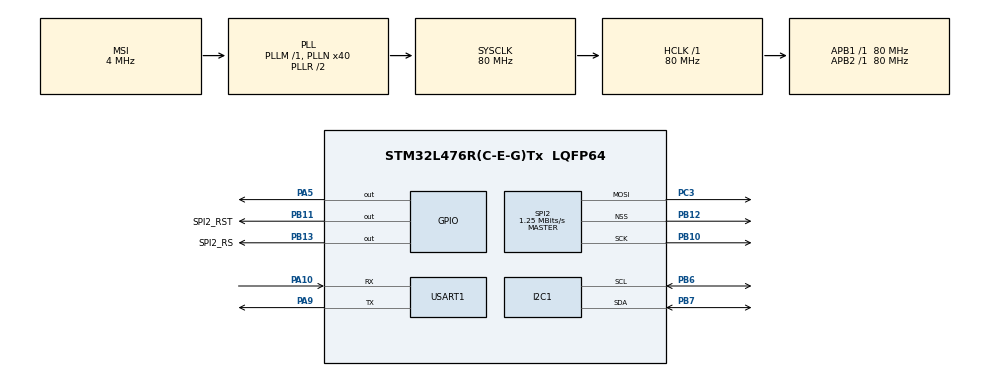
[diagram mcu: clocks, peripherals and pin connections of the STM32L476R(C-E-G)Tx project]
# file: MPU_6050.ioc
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Mcu.Family=STM32L4
Mcu.Name=STM32L476R(C-E-G)Tx
Mcu.Package=LQFP64
NVIC.PriorityGroup=NVIC_PRIORITYGROUP_4
PA10.Mode=Asynchronous
PA10.Signal=USART1_RX
PA5.Signal=GPIO_Output
PA9.Mode=Asynchronous
PA9.Signal=USART1_TX
PB10.Mode=TX_Only_Simplex_Unidirect_Master
PB10.Signal=SPI2_SCK
PB11.GPIO_Label=SPI2_RST
PB11.GPIO_Speed=GPIO_SPEED_FREQ_MEDIUM
PB11.Signal=GPIO_Output
PB12.Mode=NSS_Signal_Hard_Output
PB12.Signal=SPI2_NSS
PB13.GPIO_Label=SPI2_RS
PB13.GPIO_Speed=GPIO_SPEED_FREQ_MEDIUM
PB13.Signal=GPIO_Output
PB6.Mode=I2C
PB6.Signal=I2C1_SCL
PB7.Mode=I2C
PB7.Signal=I2C1_SDA
PC14-OSC32_IN\ (PC14).Mode=LSE-External-Oscillator
PC14-OSC32_IN\ (PC14).Signal=RCC_OSC32_IN
PC15-OSC32_OUT\ (PC15).Mode=LSE-External-Oscillator
PC15-OSC32_OUT\ (PC15).Signal=RCC_OSC32_OUT
PC3.Mode=TX_Only_Simplex_Unidirect_Master
PC3.Signal=SPI2_MOSI
ProjectManager.HeapSize=0x400
ProjectManager.StackSize=0x800
ProjectManager.TargetToolchain=MDK-ARM V5
RCC.ADCFreq_Value=16000000
RCC.AHBFreq_Value=80000000
RCC.APB1Freq_Value=80000000
RCC.APB1TimFreq_Value=80000000
RCC.APB2Freq_Value=80000000
RCC.APB2TimFreq_Value=80000000
RCC.CortexFreq_Value=80000000
RCC.HCLKFreq_Value=80000000
RCC.HSE_VALUE=8000000
RCC.HSI_VALUE=16000000
RCC.MSI_VALUE=4000000
RCC.PLLN=40
RCC.RTCClockSelection=RCC_RTCCLKSOURCE_LSE
RCC.SYSCLKFreq_VALUE=80000000
RCC.SYSCLKSource=RCC_SYSCLKSOURCE_PLLCLK
RCC.USBFreq_Value=16000000
RCC.VCOOutputFreq_Value=160000000
SPI2.BaudRatePrescaler=SPI_BAUDRATEPRESCALER_64
SPI2.CalculateBaudRate=1.25 MBits/s
SPI2.DataSize=SPI_DATASIZE_8BIT
SPI2.Direction=SPI_DIRECTION_2LINES
SPI2.Mode=SPI_MODE_MASTER
SPI2.VirtualNSS=VM_NSSHARD
SPI2.VirtualType=VM_MASTER
USART1.DMADisableonRxErrorParam=ADVFEATURE_DMA_DISABLEONRXERROR
USART1.VirtualMode-Asynchronous=VM_ASYNC
USART1.WordLength=WORDLENGTH_8B
VP_RTC_VS_RTC_Activate.Mode=RTC_Enabled
board=MPU_6050

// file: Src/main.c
/**
  ******************************************************************************
  * @file           : main.c
  * @brief          : Main program body
  ******************************************************************************
  ** This notice applies to any and all portions of this file
  * that are not between comment pairs USER CODE BEGIN and
  * USER CODE END. Other portions of this file, whether
  * inserted by the user or by software development tools
  * are owned by their respective copyright owners.
  *
  * COPYRIGHT(c) 2018 STMicroelectronics
  *
  * Redistribution and use in source and binary forms, with or without modification,
  * are permitted provided that the following conditions are met:
  *   1. Redistributions of source code must retain the above copyright notice,
  *      this list of conditions and the following disclaimer.
  *   2. Redistributions in binary form must reproduce the above copyright notice,
  *      this list of conditions and the following disclaimer in the documentation
  *      and/or other materials provided with the distribution.
  *   3. Neither the name of STMicroelectronics nor the names of its contributors
  *      may be used to endorse or promote products derived from this software
  *      without specific prior written permission.
  *
  * THIS SOFTWARE IS PROVIDED BY THE COPYRIGHT HOLDERS AND CONTRIBUTORS "AS IS"
  * AND ANY EXPRESS OR IMPLIED WARRANTIES, INCLUDING, BUT NOT LIMITED TO, THE
  * IMPLIED WARRANTIES OF MERCHANTABILITY AND FITNESS FOR A PARTICULAR PURPOSE ARE
  * DISCLAIMED. IN NO EVENT SHALL THE COPYRIGHT HOLDER OR CONTRIBUTORS BE LIABLE
  * FOR ANY DIRECT, INDIRECT, INCIDENTAL, SPECIAL, EXEMPLARY, OR CONSEQUENTIAL
  * DAMAGES (INCLUDING, BUT NOT LIMITED TO, PROCUREMENT OF SUBSTITUTE GOODS OR
  * SERVICES; LOSS OF USE, DATA, OR PROFITS; OR BUSINESS INTERRUPTION) HOWEVER
  * CAUSED AND ON ANY THEORY OF LIABILITY, WHETHER IN CONTRACT, STRICT LIABILITY,
  * OR TORT (INCLUDING NEGLIGENCE OR OTHERWISE) ARISING IN ANY WAY OUT OF THE USE
  * OF THIS SOFTWARE, EVEN IF ADVISED OF THE POSSIBILITY OF SUCH DAMAGE.
  *
  ******************************************************************************
  */
#include "main.h"
#include "stm32l4xx_hal.h"
#include "i2c.h"
#include "rtc.h"
#include "spi.h"
#include "usart.h"
#include "gpio.h"

/* USER CODE BEGIN Includes */
#include "oled.h"
#include "mpu6050.h"
#include "inv_mpu.h"
#include "inv_mpu_dmp_motion_driver.h"
/* USER CODE END Includes */

/* USER CODE BEGIN PV */
/* Private variables ---------------------------------------------------------*/
float pitch,roll,yaw; 		//欧拉角
uint16_t accX_int16_t,accY_int16_t,accZ_int16_t;
short aacx,aacy,aacz;		//加速度传感器原始数据
short gyrox,gyroy,gyroz;	//陀螺仪原始数据
short temp;					//温度
/* USER CODE END PV */

void SystemClock_Config(void);

/* USER CODE BEGIN PFP */
/* Private function prototypes -----------------------------------------------*/

/* USER CODE END PFP */

int main(void)
{
  /* USER CODE BEGIN 1 */
	uint16_t temperature_value;
	uint8_t abc = 0;
  /* USER CODE END 1 */

  /* MCU Configuration----------------------------------------------------------*/

  /* Reset of all peripherals, Initializes the Flash interface and the Systick. */
  HAL_Init();

  /* Configure the system clock */
  SystemClock_Config();

  /* Initialize all configured peripherals */
  MX_GPIO_Init();
  MX_RTC_Init();
  MX_SPI2_Init();
  MX_USART1_UART_Init();
  MX_I2C1_Init();
  /* USER CODE BEGIN 2 */
	oled_init();
	MPU6050_Init();
	//oled_showstring(0,0,"hello");

	//oled_showchar(0,0,'a');
	oled_showstring(0,2,"hello!");
    while((abc = mpu_dmp_init()) != 0)
    {
        oled_showstring(80,0,"X");
				oled_shownum(0,0,abc,4,16);
    }

  /* USER CODE END 2 */

  /* Infinite loop */
  while (1)
  {

  /* USER CODE BEGIN 3 */
		if(mpu_dmp_get_data(&pitch,&roll,&yaw)==0)
		{
			temp=MPU_Get_Temperature();	//得到温度值
			//log_printf("temp = %d",temp);
//			MPU_Get_Accelerometer(&aacx,&aacy,&aacz);	//得到加速度传感器数据
//			MPU_Get_Gyroscope(&gyrox,&gyroy,&gyroz);	//得到陀螺仪数据
		}
		if(roll < 0)
		{
				oled_showchar(16,4,'-');
				accX_int16_t = (uint16_t)(-roll);
		}else
		{
				oled_showchar(16,4,' ');
				accX_int16_t = (uint16_t)roll;
		}
		if(pitch < 0)
		{
				oled_showchar(80,4,'-');
				accY_int16_t = (uint16_t)(-pitch);
		}else
		{
				oled_showchar(80,4,' ');
				accY_int16_t = (uint16_t)pitch;
		}
		if(yaw < 0)
		{
				oled_showchar(16,6,'-');
				accZ_int16_t = (uint16_t)(-yaw);
		}else
		{
				oled_showchar(16,6,' ');
				accZ_int16_t = (uint16_t)yaw;
		}
		 oled_shownum(32,4,accX_int16_t,4,16);
		 oled_shownum(96,4,accY_int16_t,4,16);
		 oled_shownum(32,6,accZ_int16_t,4,16);
		//log_printf("hello word!");
	  HAL_GPIO_TogglePin(GPIOA, GPIO_PIN_5);
		HAL_Delay(10);
  }
  /* USER CODE END 3 */

}

void SystemClock_Config(void)
{

  RCC_OscInitTypeDef RCC_OscInitStruct;
  RCC_ClkInitTypeDef RCC_ClkInitStruct;
  RCC_PeriphCLKInitTypeDef PeriphClkInit;

    /**Configure LSE Drive Capability
    */
  HAL_PWR_EnableBkUpAccess();

  __HAL_RCC_LSEDRIVE_CONFIG(RCC_LSEDRIVE_LOW);

    /**Initializes the CPU, AHB and APB busses clocks
    */
  RCC_OscInitStruct.OscillatorType = RCC_OSCILLATORTYPE_LSE|RCC_OSCILLATORTYPE_MSI;
  RCC_OscInitStruct.LSEState = RCC_LSE_ON;
  RCC_OscInitStruct.MSIState = RCC_MSI_ON;
  RCC_OscInitStruct.MSICalibrationValue = 0;
  RCC_OscInitStruct.MSIClockRange = RCC_MSIRANGE_6;
  RCC_OscInitStruct.PLL.PLLState = RCC_PLL_ON;
  RCC_OscInitStruct.PLL.PLLSource = RCC_PLLSOURCE_MSI;
  RCC_OscInitStruct.PLL.PLLM = 1;
  RCC_OscInitStruct.PLL.PLLN = 40;
  RCC_OscInitStruct.PLL.PLLP = RCC_PLLP_DIV7;
  RCC_OscInitStruct.PLL.PLLQ = RCC_PLLQ_DIV2;
  RCC_OscInitStruct.PLL.PLLR = RCC_PLLR_DIV2;
  if (HAL_RCC_OscConfig(&RCC_OscInitStruct) != HAL_OK)
  {
    _Error_Handler(__FILE__, __LINE__);
  }

    /**Initializes the CPU, AHB and APB busses clocks
    */
  RCC_ClkInitStruct.ClockType = RCC_CLOCKTYPE_HCLK|RCC_CLOCKTYPE_SYSCLK
                              |RCC_CLOCKTYPE_PCLK1|RCC_CLOCKTYPE_PCLK2;
  RCC_ClkInitStruct.SYSCLKSource = RCC_SYSCLKSOURCE_PLLCLK;
  RCC_ClkInitStruct.AHBCLKDivider = RCC_SYSCLK_DIV1;
  RCC_ClkInitStruct.APB1CLKDivider = RCC_HCLK_DIV1;
  RCC_ClkInitStruct.APB2CLKDivider = RCC_HCLK_DIV1;

  if (HAL_RCC_ClockConfig(&RCC_ClkInitStruct, FLASH_LATENCY_4) != HAL_OK)
  {
    _Error_Handler(__FILE__, __LINE__);
  }

  PeriphClkInit.PeriphClockSelection = RCC_PERIPHCLK_RTC|RCC_PERIPHCLK_USART1
                              |RCC_PERIPHCLK_I2C1;
  PeriphClkInit.Usart1ClockSelection = RCC_USART1CLKSOURCE_PCLK2;
  PeriphClkInit.I2c1ClockSelection = RCC_I2C1CLKSOURCE_PCLK1;
  PeriphClkInit.RTCClockSelection = RCC_RTCCLKSOURCE_LSE;
  if (HAL_RCCEx_PeriphCLKConfig(&PeriphClkInit) != HAL_OK)
  {
    _Error_Handler(__FILE__, __LINE__);
  }

    /**Configure the main internal regulator output voltage
    */
  if (HAL_PWREx_ControlVoltageScaling(PWR_REGULATOR_VOLTAGE_SCALE1) != HAL_OK)
  {
    _Error_Handler(__FILE__, __LINE__);
  }

    /**Configure the Systick interrupt time
    */
  HAL_SYSTICK_Config(HAL_RCC_GetHCLKFreq()/1000);

    /**Configure the Systick
    */
  HAL_SYSTICK_CLKSourceConfig(SYSTICK_CLKSOURCE_HCLK);

    /**Enable MSI Auto calibration
    */
  HAL_RCCEx_EnableMSIPLLMode();

  /* SysTick_IRQn interrupt configuration */
  HAL_NVIC_SetPriority(SysTick_IRQn, 0, 0);
}

void _Error_Handler(char *file, int line)
{
  while(1)
  {
  }
}

/************************ (C) COPYRIGHT STMicroelectronics *****END OF FILE****/
